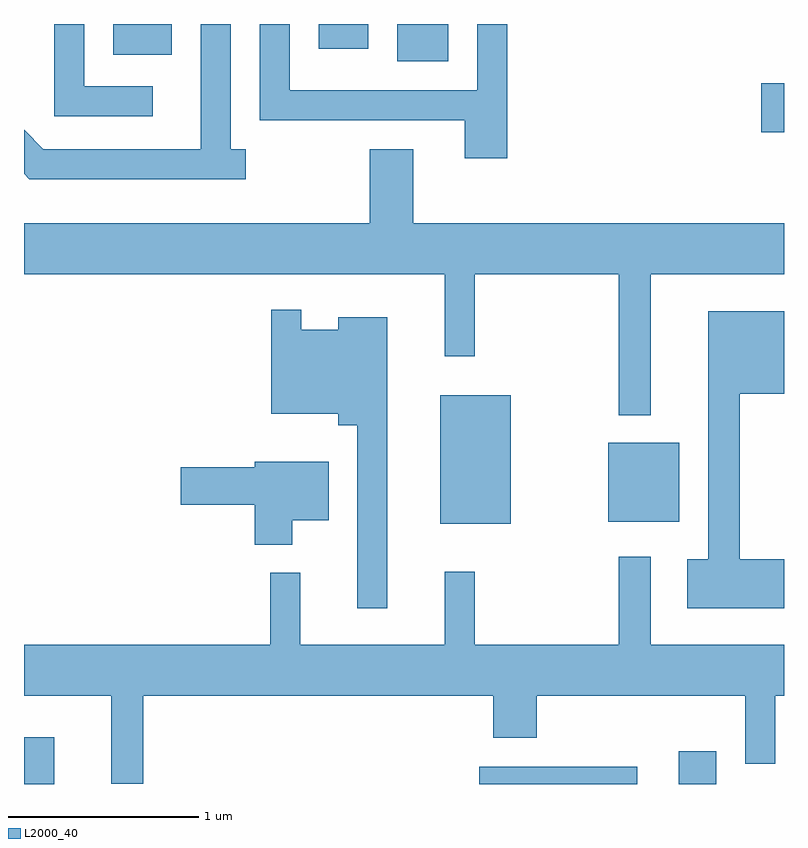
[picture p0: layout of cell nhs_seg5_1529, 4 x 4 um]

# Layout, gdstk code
import gdstk
lib = gdstk.Library(unit=1e-6, precision=1e-09)
def R(c, l, rs):  # rectangles x0, y0, x1, y1
    for r in rs: c.add(gdstk.rectangle(r[:2], r[2:], *l))
def P(c, l, *ps):  # polygons
    for p in ps: c.add(gdstk.Polygon(p, *l))
L2000_40 = (2000, 40)

nhs_seg5_1529 = lib.new_cell('nhs_seg5_1529')
R(nhs_seg5_1529, L2000_40, [(229.611,1494.072,229.769,1494.318), (232.006,1494.072,232.838,1494.164), (233.056,1494.072,233.254,1494.244), (231.801,1495.441,232.174,1496.119), (232.686,1495.451,233.059,1495.869), (233.491,1497.501,233.611,1497.759), (231.576,1497.876,231.844,1498.072), (230.081,1497.911,230.389,1498.072), (231.161,1497.941,231.424,1498.072)])
P(nhs_seg5_1529, L2000_40, [(230.288,1497.744),(229.929,1497.744),(229.929,1498.072),(229.771,1498.072),(229.771,1497.586),(230.288,1497.586)],
  [(230.778,1497.414),(230.699,1497.414),(230.699,1498.072),(230.541,1498.072),(230.541,1497.414),(229.712,1497.414),(229.611,1497.515),(229.611,1497.284),(229.639,1497.256),(230.778,1497.256)],
  [(232.154,1498.072),(231.996,1498.072),(231.996,1497.724),(231.009,1497.724),(231.009,1498.072),(230.851,1498.072),(230.851,1497.566),(231.931,1497.566),(231.931,1497.366),(232.154,1497.366)],
  [(232.909,1496.756),(233.611,1496.756),(233.611,1497.024),(231.659,1497.024),(231.659,1497.414),(231.431,1497.414),(231.431,1497.024),(229.611,1497.024),(229.611,1496.756),(231.826,1496.756),(231.826,1496.323),(231.984,1496.323),(231.984,1496.756),(232.741,1496.756),(232.741,1496.013),(232.909,1496.013)],
  [(231.524,1496.529),(231.266,1496.529),(231.266,1496.464),(231.069,1496.464),(231.069,1496.568),(230.911,1496.568),(230.911,1496.021),(231.266,1496.021),(231.266,1495.961),(231.366,1495.961),(231.366,1494.998),(231.524,1494.998)],
  [(233.611,1495.254),(233.379,1495.254),(233.379,1496.126),(233.611,1496.126),(233.611,1496.559),(233.211,1496.559),(233.211,1495.254),(233.101,1495.254),(233.101,1494.996),(233.611,1494.996)],
  [(231.024,1495.461),(231.214,1495.461),(231.214,1495.769),(230.826,1495.769),(230.826,1495.739),(230.436,1495.739),(230.436,1495.541),(230.826,1495.541),(230.826,1495.331),(231.024,1495.331)],
  [(231.984,1495.188),(231.826,1495.188),(231.826,1494.804),(231.064,1494.804),(231.064,1495.183),(230.906,1495.183),(230.906,1494.804),(229.611,1494.804),(229.611,1494.536),(230.071,1494.536),(230.071,1494.073),(230.239,1494.073),(230.239,1494.536),(232.081,1494.536),(232.081,1494.316),(232.309,1494.316),(232.309,1494.536),(233.406,1494.536),(233.406,1494.178),(233.564,1494.178),(233.564,1494.536),(233.611,1494.536),(233.611,1494.804),(232.909,1494.804),(232.909,1495.268),(232.741,1495.268),(232.741,1494.804),(231.984,1494.804)])

lib.write_gds('nhs_seg5_1529.gds')
